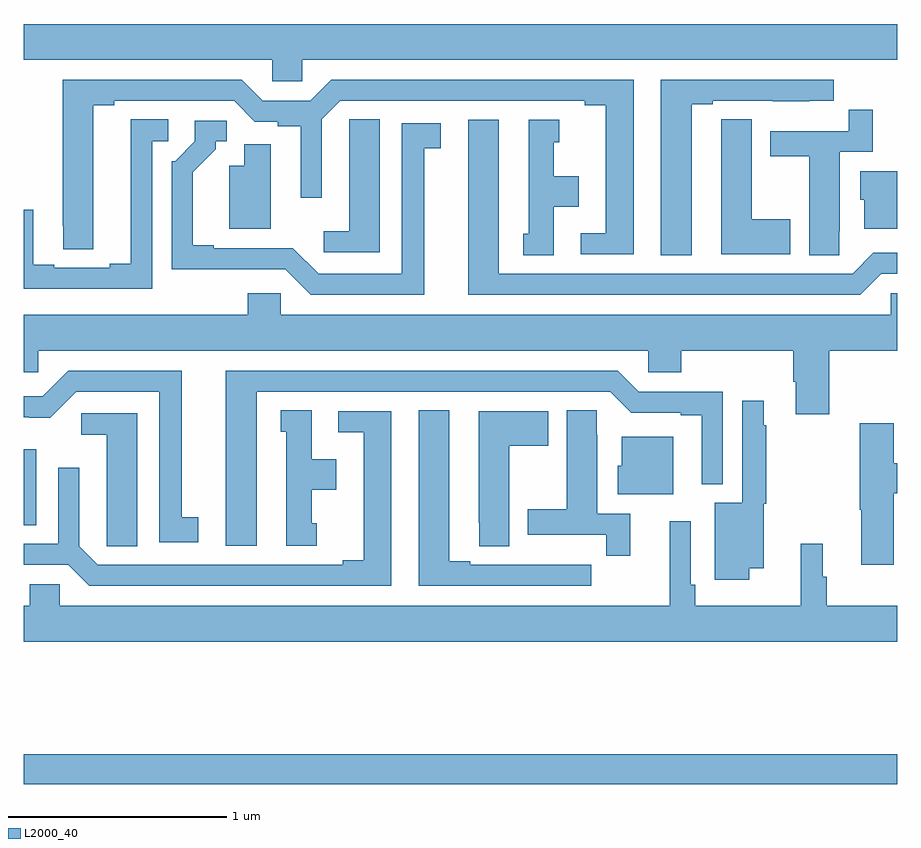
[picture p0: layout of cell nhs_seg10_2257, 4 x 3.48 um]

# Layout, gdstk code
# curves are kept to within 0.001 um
import gdstk
lib = gdstk.Library(unit=1e-6, precision=1e-09)
def R(c, l, rs):  # rectangles x0, y0, x1, y1
    for r in rs: c.add(gdstk.rectangle(r[:2], r[2:], *l))
def P(c, l, *ps):  # polygons
    for p in ps: c.add(gdstk.Polygon(p, *l))
L2000_40 = (2000, 40)

nhs_seg10_2257 = lib.new_cell('nhs_seg10_2257')
R(nhs_seg10_2257, L2000_40, [(231,1300.996,235,1301.132), (231,1302.181,231.058,1302.529)])
P(nhs_seg10_2257, L2000_40, [(232.275,1304.312),(235,1304.312),(235,1304.476),(231,1304.476),(231,1304.312),(232.137,1304.312),(232.137,1304.214),(232.275,1304.214)],
  [(234.058,1304.109),(234.154,1304.109),(234.154,1304.124),(234.43,1304.124),(234.43,1304.123),(234.596,1304.123),(234.596,1304.124),(234.709,1304.124),(234.709,1304.22),(233.918,1304.22),(233.918,1303.417),(234.058,1303.417)],
  [(233.794,1304.22),(232.409,1304.22),(232.313,1304.124),(232.095,1304.124),(231.999,1304.22),(231.179,1304.22),(231.18,1303.444),(231.319,1303.444),(231.319,1304.104),(231.415,1304.104),(231.415,1304.124),(231.963,1304.124),(232.059,1304.028),(232.164,1304.028),(232.164,1304.008),(232.268,1304.008),(232.268,1303.68),(232.365,1303.68),(232.365,1304.04),(232.449,1304.124),(233.57,1304.124),(233.57,1304.104),(233.666,1304.104),(233.666,1303.518),(233.55,1303.518),(233.55,1303.422),(233.794,1303.422)],
  [(234.735,1303.528),(234.736,1303.528),(234.736,1303.89),(234.887,1303.89),(234.887,1304.083),(234.778,1304.083),(234.778,1303.986),(234.419,1303.986),(234.419,1303.87),(234.596,1303.87),(234.596,1303.417),(234.735,1303.417)],
  [(234.511,1303.581),(234.334,1303.581),(234.334,1304.039),(234.195,1304.039),(234.195,1303.931),(234.194,1303.931),(234.194,1303.421),(234.511,1303.421)],
  [(231.588,1303.938),(231.661,1303.938),(231.661,1304.039),(231.491,1304.039),(231.491,1303.379),(231.395,1303.379),(231.395,1303.359),(231.139,1303.359),(231.139,1303.374),(231.043,1303.374),(231.043,1303.625),(231,1303.625),(231,1303.263),(231.588,1303.263)],
  [(232.63,1304.039),(232.491,1304.039),(232.491,1303.931),(232.49,1303.931),(232.49,1303.528),(232.374,1303.528),(232.374,1303.431),(232.63,1303.431)],
  [(234.927,1303.332),(235,1303.332),(235,1303.428),(234.891,1303.428),(234.795,1303.332),(233.176,1303.332),(233.176,1304.038),(233.036,1304.038),(233.036,1303.236),(234.831,1303.236)],
  [(233.428,1303.64),(233.542,1303.64),(233.542,1303.78),(233.428,1303.78),(233.428,1303.935),(233.452,1303.935),(233.452,1304.038),(233.312,1304.038),(233.312,1303.515),(233.288,1303.515),(233.288,1303.417),(233.428,1303.417)],
  [(232.834,1303.906),(232.909,1303.906),(232.909,1304.022),(232.73,1304.022),(232.73,1303.332),(232.35,1303.332),(232.233,1303.449),(231.871,1303.449),(231.871,1303.462),(231.775,1303.462),(231.775,1303.798),(231.88,1303.903),(231.88,1303.938),(231.93,1303.938),(231.93,1304.034),(231.783,1304.034),(231.783,1303.938),(231.693,1303.848),(231.678,1303.848),(231.678,1303.352),(232.197,1303.353),(232.314,1303.236),(232.834,1303.236)],
  [(232.132,1303.926),(232.01,1303.926),(232.01,1303.828),(231.941,1303.828),(231.941,1303.538),(232.132,1303.538)],
  [(235,1303.801),(234.83,1303.801),(234.83,1303.671),(234.848,1303.671),(234.848,1303.538),(235,1303.538)],
  [(234.689,1302.98),(235,1302.98),(235,1303.242),(234.969,1303.242),(234.969,1303.144),(232.176,1303.144),(232.176,1303.242),(232.025,1303.242),(232.025,1303.144),(231,1303.144),(231,1302.882),(231.066,1302.882),(231.066,1302.98),(233.859,1302.98),(233.859,1302.882),(234.011,1302.882),(234.011,1302.98),(234.524,1302.98),(234.524,1302.838),(234.536,1302.838),(234.536,1302.69),(234.689,1302.69)],
  [(232.066,1302.792),(233.685,1302.792),(233.781,1302.696),(234.008,1302.696),(234.008,1302.684),(234.104,1302.684),(234.104,1302.368),(234.201,1302.368),(234.201,1302.792),(233.817,1302.792),(233.721,1302.888),(231.926,1302.888),(231.926,1302.087),(232.066,1302.087)],
  [(231.799,1302.218),(231.724,1302.218),(231.724,1302.888),(231.204,1302.888),(231.087,1302.771),(231,1302.771),(231,1302.675),(231.122,1302.674),(231.24,1302.792),(231.62,1302.792),(231.62,1302.102),(231.799,1302.102)],
  [(234.322,1301.984),(234.388,1301.984),(234.388,1302.279),(234.4,1302.279),(234.4,1302.638),(234.388,1302.638),(234.388,1302.751),(234.291,1302.751),(234.291,1302.283),(234.164,1302.283),(234.164,1301.931),(234.322,1301.931)],
  [(233.777,1302.234),(233.626,1302.234),(233.626,1302.596),(233.625,1302.596),(233.625,1302.707),(233.486,1302.707),(233.486,1302.255),(233.309,1302.255),(233.309,1302.138),(233.668,1302.138),(233.668,1302.042),(233.777,1302.042)],
  [(233.599,1302),(233.486,1302),(233.486,1302.001),(233.32,1302.001),(233.32,1302),(233.044,1302),(233.044,1302.015),(232.948,1302.015),(232.948,1302.707),(232.808,1302.707),(232.808,1301.904),(233.599,1301.904)],
  [(232.342,1302.189),(232.318,1302.189),(232.318,1302.344),(232.432,1302.344),(232.432,1302.484),(232.318,1302.484),(232.318,1302.707),(232.178,1302.707),(232.178,1302.609),(232.202,1302.609),(232.202,1302.087),(232.342,1302.087)],
  [(233.224,1302.544),(233.401,1302.544),(233.401,1302.703),(233.084,1302.703),(233.084,1302.193),(233.085,1302.193),(233.085,1302.085),(233.224,1302.085)],
  [(232.684,1302.702),(232.44,1302.702),(232.44,1302.606),(232.556,1302.606),(232.556,1302.02),(232.46,1302.02),(232.46,1302),(231.339,1302),(231.255,1302.084),(231.255,1302.445),(231.159,1302.445),(231.159,1302.096),(231,1302.096),(231,1302),(231.203,1302),(231.299,1301.904),(232.684,1301.904)],
  [(231.52,1302.693),(231.264,1302.693),(231.264,1302.596),(231.38,1302.596),(231.38,1302.193),(231.381,1302.193),(231.381,1302.085),(231.52,1302.085)],
  [(234.983,1302.328),(235,1302.328),(235,1302.464),(234.983,1302.464),(234.983,1302.649),(234.829,1302.649),(234.829,1302.251),(234.836,1302.251),(234.836,1302),(234.983,1302)],
  [(233.974,1302.586),(233.738,1302.586),(233.738,1302.453),(233.72,1302.453),(233.72,1302.323),(233.974,1302.323)],
  [(235,1301.812),(234.677,1301.812),(234.677,1301.946),(234.658,1301.946),(234.658,1302.097),(234.559,1302.097),(234.559,1301.812),(234.074,1301.812),(234.074,1301.908),(234.054,1301.908),(234.054,1302.199),(233.957,1302.199),(233.957,1301.812),(231.165,1301.812),(231.165,1301.91),(231.027,1301.91),(231.027,1301.812),(231,1301.812),(231,1301.648),(235,1301.648)])

lib.write_gds('nhs_seg10_2257.gds')
